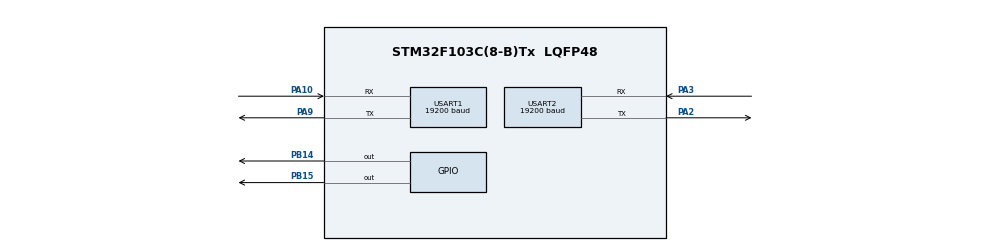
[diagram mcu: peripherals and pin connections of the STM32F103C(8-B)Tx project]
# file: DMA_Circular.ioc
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Dma.Request0=USART1_RX
Dma.Request1=USART1_TX
Dma.Request2=USART2_RX
Dma.Request3=USART2_TX
Dma.USART1_RX.0.Direction=DMA_PERIPH_TO_MEMORY
Dma.USART1_RX.0.Instance=DMA1_Channel5
Dma.USART1_RX.0.MemDataAlignment=DMA_MDATAALIGN_BYTE
Dma.USART1_RX.0.MemInc=DMA_MINC_ENABLE
Dma.USART1_RX.0.Mode=DMA_NORMAL
Dma.USART1_RX.0.PeriphDataAlignment=DMA_PDATAALIGN_BYTE
Dma.USART1_RX.0.PeriphInc=DMA_PINC_DISABLE
Dma.USART1_RX.0.Priority=DMA_PRIORITY_LOW
Dma.USART1_TX.1.Direction=DMA_MEMORY_TO_PERIPH
Dma.USART1_TX.1.Instance=DMA1_Channel4
Dma.USART1_TX.1.MemDataAlignment=DMA_MDATAALIGN_BYTE
Dma.USART1_TX.1.MemInc=DMA_MINC_ENABLE
Dma.USART1_TX.1.Mode=DMA_NORMAL
Dma.USART1_TX.1.PeriphDataAlignment=DMA_PDATAALIGN_BYTE
Dma.USART1_TX.1.PeriphInc=DMA_PINC_DISABLE
Dma.USART1_TX.1.Priority=DMA_PRIORITY_LOW
Dma.USART2_RX.2.Direction=DMA_PERIPH_TO_MEMORY
Dma.USART2_RX.2.Instance=DMA1_Channel6
Dma.USART2_RX.2.MemDataAlignment=DMA_MDATAALIGN_BYTE
Dma.USART2_RX.2.MemInc=DMA_MINC_ENABLE
Dma.USART2_RX.2.Mode=DMA_NORMAL
Dma.USART2_RX.2.PeriphDataAlignment=DMA_PDATAALIGN_BYTE
Dma.USART2_RX.2.PeriphInc=DMA_PINC_DISABLE
Dma.USART2_RX.2.Priority=DMA_PRIORITY_LOW
Dma.USART2_TX.3.Direction=DMA_MEMORY_TO_PERIPH
Dma.USART2_TX.3.Instance=DMA1_Channel7
Dma.USART2_TX.3.MemDataAlignment=DMA_MDATAALIGN_BYTE
Dma.USART2_TX.3.MemInc=DMA_MINC_ENABLE
Dma.USART2_TX.3.Mode=DMA_NORMAL
Dma.USART2_TX.3.PeriphDataAlignment=DMA_PDATAALIGN_BYTE
Dma.USART2_TX.3.PeriphInc=DMA_PINC_DISABLE
Dma.USART2_TX.3.Priority=DMA_PRIORITY_LOW
Mcu.Family=STM32F1
Mcu.Name=STM32F103C(8-B)Tx
Mcu.Package=LQFP48
NVIC.DMA1_Channel4_IRQn=true\:0\:0\:false\:false\:true\:false\:true
NVIC.DMA1_Channel5_IRQn=true\:0\:0\:false\:false\:true\:false\:true
NVIC.DMA1_Channel6_IRQn=true\:0\:0\:false\:false\:true\:false\:true
NVIC.DMA1_Channel7_IRQn=true\:0\:0\:false\:false\:true\:false\:true
NVIC.PriorityGroup=NVIC_PRIORITYGROUP_4
NVIC.USART1_IRQn=true\:0\:0\:false\:false\:true\:true\:true
NVIC.USART2_IRQn=true\:0\:0\:false\:false\:true\:true\:true
PA10.Mode=Asynchronous
PA10.Signal=USART1_RX
PA2.Mode=Asynchronous
PA2.Signal=USART2_TX
PA3.Mode=Asynchronous
PA3.Signal=USART2_RX
PA9.Mode=Asynchronous
PA9.Signal=USART1_TX
PB14.Signal=GPIO_Output
PB15.Signal=GPIO_Output
ProjectManager.HeapSize=0x200
ProjectManager.StackSize=0x400
ProjectManager.TargetToolchain=TrueSTUDIO
RCC.APB1Freq_Value=8000000
RCC.APB2Freq_Value=8000000
USART1.BaudRate=19200
USART1.Parity=PARITY_EVEN
USART1.VirtualMode=VM_ASYNC
USART1.WordLength=WORDLENGTH_9B
USART2.BaudRate=19200
USART2.Parity=PARITY_EVEN
USART2.VirtualMode=VM_ASYNC
USART2.WordLength=WORDLENGTH_9B
VP_SYS_VS_ND.Mode=No_Debug
board=custom

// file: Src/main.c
/* USER CODE BEGIN Header */
/**
  ******************************************************************************
  * @file           : main.c
  * @brief          : Main program body
  ******************************************************************************
  * @attention
  *
  * <h2><center>&copy; Copyright (c) 2019 STMicroelectronics.
  * All rights reserved.</center></h2>
  *
  * This software component is licensed by ST under BSD 3-Clause license,
  * the "License"; You may not use this file except in compliance with the
  * License. You may obtain a copy of the License at:
  *                        opensource.org/licenses/BSD-3-Clause
  *
  ******************************************************************************
  */
/* USER CODE END Header */

#include "main.h"

/* USER CODE BEGIN PD */
#define DMA_RX_BUFFER_SIZE          256

#define UART_BUFFER_SIZE            256
#define TXID0POLLING				4
#define TXTIMEOUT					10
/* USER CODE END PD */

UART_HandleTypeDef huart1;
UART_HandleTypeDef huart2;
DMA_HandleTypeDef hdma_usart1_rx;
DMA_HandleTypeDef hdma_usart1_tx;
DMA_HandleTypeDef hdma_usart2_rx;
DMA_HandleTypeDef hdma_usart2_tx;

/* USER CODE BEGIN PV */
uint8_t DMA_RX_Buffer[DMA_RX_BUFFER_SIZE];

uint8_t UART_Buffer[UART_BUFFER_SIZE];

uint16_t check_value =0;

uint8_t id0pooling[]={0x04,0x40,0x51,0x05};

/* USER CODE END PV */

void SystemClock_Config(void);
static void MX_GPIO_Init(void);
static void MX_DMA_Init(void);
static void MX_USART1_UART_Init(void);
static void MX_USART2_UART_Init(void);
/* USER CODE BEGIN PFP */
void set_transmit_mode_uart1(void)
{
    HAL_GPIO_WritePin(GPIOB, GPIO_PIN_15, GPIO_PIN_SET);  // RS 485 transmit mode
}

void set_receive_mode_uart1(void)
{
    HAL_GPIO_WritePin(GPIOB, GPIO_PIN_15, GPIO_PIN_RESET); // RS 485 receive mode
}
void set_transmit_mode_uart2(void)
{
    HAL_GPIO_WritePin(GPIOB, GPIO_PIN_14, GPIO_PIN_SET);  // RS 485 transmit mode
}

void set_receive_mode_uart2(void)
{
    HAL_GPIO_WritePin(GPIOB, GPIO_PIN_14, GPIO_PIN_RESET); // RS 485 receive mode
}
/* USER CODE END PFP */

/* USER CODE BEGIN 0 */
void esp_at (void)
{
	set_transmit_mode_uart1();
	char *string = "AT\r\n";
	HAL_UART_Transmit (&huart1, (uint8_t *)string, 4, 200);
	set_transmit_mode_uart2();
	HAL_UART_Transmit (&huart2, (uint8_t *)string, 4, 200);
}
/* USER CODE END 0 */

int main(void)
{

  /* MCU Configuration--------------------------------------------------------*/

  /* Reset of all peripherals, Initializes the Flash interface and the Systick. */
  HAL_Init();

  /* Configure the system clock */
  SystemClock_Config();

  /* Initialize all configured peripherals */
  MX_GPIO_Init();
  MX_DMA_Init();
  MX_USART1_UART_Init();
  MX_USART2_UART_Init();
  /* USER CODE BEGIN 2 */
  	  HAL_Delay(1000);
  	 set_transmit_mode_uart1();
  	 HAL_UART_Transmit(&huart1, id0pooling,TXID0POLLING,TXTIMEOUT);

	__HAL_UART_ENABLE_IT(&huart1, UART_IT_IDLE);   // enable idle line interrupt
	__HAL_UART_ENABLE_IT(&huart2, UART_IT_IDLE);   // enable idle line interrupt
	__HAL_DMA_ENABLE_IT (&hdma_usart1_rx, DMA_IT_TC);  // enable DMA Tx cplt interrupt
	__HAL_DMA_ENABLE_IT (&hdma_usart2_rx, DMA_IT_TC);  // enable DMA Tx cplt interrupt

	set_receive_mode_uart1();

	HAL_UART_Receive_DMA (&huart1, DMA_RX_Buffer, DMA_RX_BUFFER_SIZE); //receive

	set_receive_mode_uart2();

	HAL_UART_Receive_DMA(&huart2, DMA_RX_Buffer, DMA_RX_BUFFER_SIZE);

	__HAL_DMA_DISABLE_IT(&hdma_usart1_rx, DMA_IT_HT); 	// disable half complete interrupt
	__HAL_DMA_DISABLE_IT(&hdma_usart2_rx, DMA_IT_HT); 	// disable half complete interrupt

  /* USER CODE END 2 */

  /* Infinite loop */
  while (1)
  {

  }
}

void SystemClock_Config(void)
{
  RCC_OscInitTypeDef RCC_OscInitStruct = {0};
  RCC_ClkInitTypeDef RCC_ClkInitStruct = {0};

  /** Initializes the CPU, AHB and APB busses clocks
  */
  RCC_OscInitStruct.OscillatorType = RCC_OSCILLATORTYPE_HSI;
  RCC_OscInitStruct.HSIState = RCC_HSI_ON;
  RCC_OscInitStruct.HSICalibrationValue = RCC_HSICALIBRATION_DEFAULT;
  RCC_OscInitStruct.PLL.PLLState = RCC_PLL_NONE;
  if (HAL_RCC_OscConfig(&RCC_OscInitStruct) != HAL_OK)
  {
    Error_Handler();
  }
  /** Initializes the CPU, AHB and APB busses clocks
  */
  RCC_ClkInitStruct.ClockType = RCC_CLOCKTYPE_HCLK|RCC_CLOCKTYPE_SYSCLK
                              |RCC_CLOCKTYPE_PCLK1|RCC_CLOCKTYPE_PCLK2;
  RCC_ClkInitStruct.SYSCLKSource = RCC_SYSCLKSOURCE_HSI;
  RCC_ClkInitStruct.AHBCLKDivider = RCC_SYSCLK_DIV1;
  RCC_ClkInitStruct.APB1CLKDivider = RCC_HCLK_DIV1;
  RCC_ClkInitStruct.APB2CLKDivider = RCC_HCLK_DIV1;

  if (HAL_RCC_ClockConfig(&RCC_ClkInitStruct, FLASH_LATENCY_0) != HAL_OK)
  {
    Error_Handler();
  }
}

static void MX_USART1_UART_Init(void)
{

  huart1.Instance = USART1;
  huart1.Init.BaudRate = 19200;
  huart1.Init.WordLength = UART_WORDLENGTH_9B;
  huart1.Init.StopBits = UART_STOPBITS_1;
  huart1.Init.Parity = UART_PARITY_EVEN;
  huart1.Init.Mode = UART_MODE_TX_RX;
  huart1.Init.HwFlowCtl = UART_HWCONTROL_NONE;
  huart1.Init.OverSampling = UART_OVERSAMPLING_16;
  if (HAL_UART_Init(&huart1) != HAL_OK)
  {
    Error_Handler();
  }

}

static void MX_USART2_UART_Init(void)
{

  huart2.Instance = USART2;
  huart2.Init.BaudRate = 19200;
  huart2.Init.WordLength = UART_WORDLENGTH_9B;
  huart2.Init.StopBits = UART_STOPBITS_1;
  huart2.Init.Parity = UART_PARITY_EVEN;
  huart2.Init.Mode = UART_MODE_TX_RX;
  huart2.Init.HwFlowCtl = UART_HWCONTROL_NONE;
  huart2.Init.OverSampling = UART_OVERSAMPLING_16;
  if (HAL_UART_Init(&huart2) != HAL_OK)
  {
    Error_Handler();
  }

}

static void MX_DMA_Init(void)
{

  /* DMA controller clock enable */
  __HAL_RCC_DMA1_CLK_ENABLE();

  /* DMA interrupt init */
  /* DMA1_Channel4_IRQn interrupt configuration */
  HAL_NVIC_SetPriority(DMA1_Channel4_IRQn, 0, 0);
  HAL_NVIC_EnableIRQ(DMA1_Channel4_IRQn);
  /* DMA1_Channel5_IRQn interrupt configuration */
  HAL_NVIC_SetPriority(DMA1_Channel5_IRQn, 0, 0);
  HAL_NVIC_EnableIRQ(DMA1_Channel5_IRQn);
  /* DMA1_Channel6_IRQn interrupt configuration */
  HAL_NVIC_SetPriority(DMA1_Channel6_IRQn, 0, 0);
  HAL_NVIC_EnableIRQ(DMA1_Channel6_IRQn);
  /* DMA1_Channel7_IRQn interrupt configuration */
  HAL_NVIC_SetPriority(DMA1_Channel7_IRQn, 0, 0);
  HAL_NVIC_EnableIRQ(DMA1_Channel7_IRQn);

}

static void MX_GPIO_Init(void)
{
  GPIO_InitTypeDef GPIO_InitStruct = {0};

  /* GPIO Ports Clock Enable */
  __HAL_RCC_GPIOA_CLK_ENABLE();
  __HAL_RCC_GPIOB_CLK_ENABLE();

  /*Configure GPIO pin Output Level */
  HAL_GPIO_WritePin(GPIOB, GPIO_PIN_14|GPIO_PIN_15, GPIO_PIN_RESET);

  /*Configure GPIO pins : PB14 PB15 */
  GPIO_InitStruct.Pin = GPIO_PIN_14|GPIO_PIN_15;
  GPIO_InitStruct.Mode = GPIO_MODE_OUTPUT_PP;
  GPIO_InitStruct.Pull = GPIO_NOPULL;
  GPIO_InitStruct.Speed = GPIO_SPEED_FREQ_LOW;
  HAL_GPIO_Init(GPIOB, &GPIO_InitStruct);

}

void Error_Handler(void)
{
}

/************************ (C) COPYRIGHT STMicroelectronics *****END OF FILE****/
